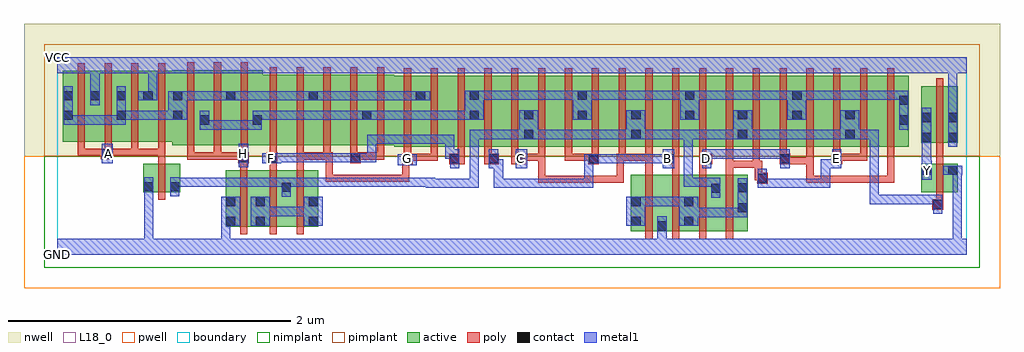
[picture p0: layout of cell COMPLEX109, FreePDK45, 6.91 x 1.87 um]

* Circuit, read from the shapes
.subckt COMPLEX109 A B C D E F G GND H VCC Y
M1 n1 A GND VSUBS nfet w=0.2u l=0.05u
M2 n2 H GND VSUBS nfet w=0.4u l=0.05u
M3 n1 F n2 VSUBS nfet w=0.4u l=0.05u
M4 n2 G n1 VSUBS nfet w=0.4u l=0.05u
M5 GND C n3 VSUBS nfet w=0.4u l=0.05u
M6 n3 B GND VSUBS nfet w=0.4u l=0.05u
M7 n1 D n3 VSUBS nfet w=0.4u l=0.05u
M8 n3 E n1 VSUBS nfet w=0.4u l=0.05u
M9 GND n1 Y VSUBS nfet w=0.2u l=0.05u
M10 VCC A n4 n5 pfet w=0.5u l=0.05u m=4
M11 n6 H n4 n5 pfet w=0.532u l=0.05u m=3
M12 n7 F n6 n5 pfet w=0.5u l=0.05u
M13 n4 G n7 n5 pfet w=0.5u l=0.05u
M14 n8 G n4 n5 pfet w=0.5u l=0.05u
M15 n6 F n8 n5 pfet w=0.5u l=0.05u
M16 n9 F n6 n5 pfet w=0.5u l=0.05u
M17 n4 G n9 n5 pfet w=0.5u l=0.05u
M18 n10 G n4 n5 pfet w=0.5u l=0.05u
M19 n6 F n10 n5 pfet w=0.5u l=0.05u
M20 n11 B n6 n5 pfet w=0.5u l=0.05u
M21 n1 C n11 n5 pfet w=0.5u l=0.05u
M22 n12 C n1 n5 pfet w=0.5u l=0.05u
M23 n6 B n12 n5 pfet w=0.5u l=0.05u
M24 n13 B n6 n5 pfet w=0.5u l=0.05u
M25 n1 C n13 n5 pfet w=0.5u l=0.05u
M26 n14 C n1 n5 pfet w=0.5u l=0.05u
M27 n6 B n14 n5 pfet w=0.5u l=0.05u
M28 n15 D n6 n5 pfet w=0.5u l=0.05u
M29 n1 E n15 n5 pfet w=0.5u l=0.05u
M30 n16 E n1 n5 pfet w=0.5u l=0.05u
M31 n6 D n16 n5 pfet w=0.5u l=0.05u
M32 n17 D n6 n5 pfet w=0.5u l=0.05u
M33 n1 E n17 n5 pfet w=0.5u l=0.05u
M34 n18 E n1 n5 pfet w=0.5u l=0.05u
M35 n6 D n18 n5 pfet w=0.5u l=0.05u
M36 VCC n1 Y n5 pfet w=0.4u l=0.05u
.ends

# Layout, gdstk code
import gdstk
lib = gdstk.Library(unit=1e-6, precision=1e-09)
def R(c, l, rs):  # rectangles x0, y0, x1, y1
    for r in rs: c.add(gdstk.rectangle(r[:2], r[2:], *l))
def A(c, l, x, y, w, h, nx, ny, dx, dy):  # array of equal rectangles
    R(c, l, [(x+i*dx, y+j*dy, x+i*dx+w, y+j*dy+h) for i in range(nx) for j in range(ny)])
active = (1, 0)
pwell = (2, 0)
nwell = (3, 0)
nimplant = (4, 0)
pimplant = (5, 0)
poly = (9, 0)
contact = (10, 0)
metal1 = (11, 0)
L18_0 = (18, 0)
boundary = (235, 0)

complex109 = lib.new_cell('COMPLEX109')
A(complex109, active, 4.245, 0.167, 0.265, 0.4, 3, 1, 0.19, 0)
A(complex109, active, 3.145, 0.767, 0.23, 0.5, 4, 1, 0.38, 0)
A(complex109, active, 3.3, 0.767, 0.225, 0.5, 4, 1, 0.38, 0)
A(complex109, active, 3.68, 0.807, 0.075, 0.393, 3, 1, 0.76, 0)
R(complex109, active, [(4.06,0.167,4.32,0.567), (4.245,0.167,4.32,0.492), (1.192,0.2,1.267,0.6), (1.192,0.2,1.475,0.6), (1.4,0.2,1.475,0.492), (1.4,0.2,1.66,0.6), (1.585,0.2,1.85,0.6), (1.775,0.2,1.85,0.6), (4.06,0.2,4.135,0.567), (4.435,0.2,4.51,0.492), (1.585,0.245,1.66,0.517), (4.625,0.245,4.7,0.51), (4.815,0.245,4.89,0.567), (0.61,0.445,0.685,0.645), (0.61,0.445,0.87,0.645), (0.795,0.445,0.87,0.645), (6.117,0.445,6.192,0.645), (6.117,0.445,6.377,0.645), (6.302,0.445,6.377,0.645), (2.385,0.767,2.61,1.267), (2.535,0.767,2.765,1.267), (2.765,0.767,2.99,1.267), (2.915,0.767,3.145,1.267), (4.665,0.767,4.89,1.267), (4.815,0.767,5.045,1.267), (5.045,0.767,5.275,1.267), (5.2,0.767,5.425,1.267), (5.425,0.767,5.65,1.267), (5.575,0.767,5.805,1.267), (5.805,0.767,6.03,1.267), (5.955,0.767,6.03,1.2), (0.815,0.775,1.08,1.307), (1.005,0.775,1.267,1.307), (1.005,0.775,1.08,1.07), (1.192,0.775,1.455,1.307), (1.192,0.775,1.267,1.2), (1.38,0.775,1.625,1.275), (1.625,0.775,1.85,1.275), (1.775,0.775,2.005,1.275), (2.005,0.775,2.23,1.275), (2.155,0.775,2.385,1.275), (6.117,0.795,6.377,1.195), (6.117,0.795,6.192,1.195), (6.302,0.795,6.377,1.155), (0.04,0.802,0.305,1.302), (0.04,0.802,0.115,1.2), (0.23,0.802,0.49,1.302), (0.415,0.802,0.68,1.302), (0.605,0.802,0.89,1.302), (0.23,0.807,0.305,1.255), (0.415,0.807,0.49,1.2), (0.605,0.807,0.68,1.255), (0.815,0.807,0.89,1.2), (1.38,0.807,1.455,1.07), (1.775,0.807,1.85,1.2), (2.155,0.807,2.23,1.07), (2.535,0.807,2.61,1.2), (2.915,0.807,2.99,1.2), (3.3,0.807,3.375,1.07), (4.06,0.807,4.135,1.07), (4.815,0.807,4.89,1.07), (5.575,0.807,5.65,1.07)])
R(complex109, pwell, [(-0.235,-0.235,6.675,0.7)])
R(complex109, nwell, [(-0.235,0.7,6.675,1.635)])
R(complex109, nimplant, [(-0.09,-0.09,6.53,0.7)])
R(complex109, pimplant, [(-0.09,0.7,6.53,1.49)])
A(complex109, poly, 4.165, 0.112, 0.05, 0.51, 4, 1, 0.19, 0)
A(complex109, poly, 2.455, 0.667, 0.05, 0.095, 12, 1, 0.19, 0)
A(complex109, poly, 0.92, 0.675, 0.05, 0.095, 3, 1, 0.19, 0)
A(complex109, poly, 1.505, 0.675, 0.05, 0.095, 5, 1, 0.19, 0)
A(complex109, poly, 0.145, 0.702, 0.05, 0.095, 4, 1, 0.19, 0)
A(complex109, poly, 2.455, 0.712, 0.05, 0.61, 19, 1, 0.19, 0)
A(complex109, poly, 0.92, 0.72, 0.05, 0.642, 3, 1, 0.19, 0)
A(complex109, poly, 1.505, 0.72, 0.05, 0.61, 5, 1, 0.19, 0)
A(complex109, poly, 0.145, 0.747, 0.05, 0.61, 4, 1, 0.19, 0)
R(complex109, poly, [(1.297,0.145,1.347,0.655), (1.505,0.145,1.555,0.655), (1.695,0.145,1.745,0.655), (6.197,0.32,6.272,0.395), (6.222,0.345,6.272,0.44), (0.715,0.39,0.765,0.7), (6.222,0.39,6.272,0.7), (4.955,0.505,5.03,0.58), (3.405,0.51,3.455,0.56), (3.405,0.51,3.587,0.56), (3.405,0.51,3.455,0.717), (3.537,0.51,3.587,0.56), (3.537,0.51,3.587,0.56), (3.537,0.51,3.587,0.56), (3.537,0.51,3.777,0.56), (3.727,0.51,3.777,0.56), (3.727,0.51,3.777,0.56), (3.727,0.51,3.777,0.56), (3.727,0.51,4.01,0.56), (3.96,0.51,4.01,0.56), (3.96,0.51,4.01,0.56), (3.96,0.51,4.01,0.56), (3.96,0.51,4.01,0.56), (3.96,0.51,4.01,0.56), (3.96,0.51,4.01,0.717), (5.305,0.51,5.355,0.56), (5.305,0.51,5.355,0.56), (5.305,0.51,5.355,0.56), (5.305,0.51,5.355,0.56), (5.305,0.51,5.355,0.56), (5.305,0.51,5.487,0.56), (5.305,0.51,5.355,0.692), (5.437,0.51,5.487,0.56), (5.437,0.51,5.487,0.56), (5.437,0.51,5.487,0.56), (5.437,0.51,5.792,0.56), (5.742,0.51,5.792,0.56), (5.742,0.51,5.925,0.56), (5.875,0.51,5.925,0.56), (5.875,0.51,5.925,0.56), (5.875,0.51,5.925,0.56), (5.875,0.51,5.925,0.56), (5.875,0.51,5.925,0.56), (5.875,0.51,5.925,0.56), (5.875,0.51,5.925,0.56), (5.875,0.51,5.925,0.762), (1.9,0.517,1.95,0.567), (1.9,0.517,1.95,0.567), (1.9,0.517,1.95,0.567), (1.9,0.517,2.182,0.567), (1.9,0.517,1.95,0.725), (2.132,0.517,2.182,0.567), (2.132,0.517,2.36,0.567), (2.31,0.517,2.36,0.567), (2.31,0.517,2.36,0.567), (2.31,0.517,2.36,0.567), (2.31,0.517,2.492,0.567), (2.442,0.517,2.492,0.567), (2.442,0.517,2.492,0.567), (2.442,0.517,2.492,0.567), (2.442,0.517,2.492,0.567), (2.442,0.517,2.492,0.567), (2.442,0.517,2.492,0.692), (4.94,0.53,4.99,0.667), (4.94,0.53,5.005,0.58), (4.955,0.53,5.005,0.58), (4.165,0.572,4.215,0.717), (4.355,0.572,4.405,0.692), (4.545,0.572,4.595,0.692), (4.735,0.572,4.785,0.667), (1.297,0.605,1.347,0.7), (1.505,0.605,1.555,0.7), (1.695,0.605,1.745,0.725), (4.735,0.617,4.785,0.667), (4.735,0.617,4.785,0.667), (4.735,0.617,4.785,0.667), (4.735,0.617,4.785,0.762), (4.735,0.617,4.975,0.667), (4.925,0.617,4.975,0.762), (4.925,0.617,4.99,0.667), (2.442,0.642,2.517,0.717), (2.777,0.642,2.885,0.717), (3.025,0.642,3.127,0.717), (3.215,0.642,3.317,0.717), (3.76,0.642,3.835,0.717), (4.297,0.642,4.405,0.717), (4.545,0.642,4.637,0.717), (5.115,0.642,5.19,0.717), (5.14,0.642,5.19,0.692), (5.14,0.642,5.19,0.692), (5.14,0.642,5.355,0.692), (5.305,0.642,5.355,0.692), (5.305,0.642,5.355,0.762), (5.482,0.642,5.557,0.717), (0.715,0.65,0.765,0.752), (1.282,0.65,1.357,0.725), (1.482,0.65,1.557,0.725), (2.075,0.65,2.15,0.725), (6.222,0.65,6.272,0.745), (2.467,0.667,2.695,0.717), (2.645,0.667,2.695,0.717), (2.645,0.667,2.695,0.717), (2.645,0.667,2.695,0.717), (3.267,0.667,3.455,0.717), (3.405,0.667,3.455,0.717), (3.405,0.667,3.455,0.717), (3.405,0.667,3.455,0.717), (3.405,0.667,3.455,0.717), (3.405,0.667,3.455,0.717), (3.595,0.667,3.645,0.717), (3.595,0.667,3.81,0.717), (3.76,0.667,3.81,0.717), (3.76,0.667,3.81,0.717), (3.96,0.667,4.025,0.717), (3.975,0.667,4.215,0.717), (4.165,0.667,4.215,0.717), (4.165,0.667,4.215,0.717), (4.165,0.667,4.215,0.717), (5.115,0.667,5.165,0.762), (5.495,0.667,5.545,0.762), (5.507,0.667,5.735,0.717), (5.685,0.667,5.735,0.762), (5.685,0.667,5.735,0.717), (5.685,0.667,5.735,0.717), (5.685,0.667,5.735,0.717), (0.92,0.675,0.97,0.725), (0.92,0.675,1.16,0.725), (1.11,0.675,1.16,0.725), (1.11,0.675,1.16,0.725), (1.11,0.675,1.16,0.725), (1.11,0.675,1.332,0.725), (1.282,0.675,1.332,0.725), (1.282,0.675,1.332,0.725), (1.695,0.675,1.745,0.725), (1.695,0.675,1.745,0.725), (1.695,0.675,1.745,0.725), (1.695,0.675,1.935,0.725), (1.885,0.675,1.95,0.725), (1.9,0.675,1.95,0.725), (1.9,0.675,1.95,0.725), (2.1,0.675,2.15,0.725), (2.1,0.675,2.15,0.725), (2.1,0.675,2.315,0.725), (2.265,0.675,2.315,0.725), (0.31,0.677,0.385,0.752), (6.222,0.695,6.272,0.79), (6.222,0.695,6.272,0.745), (0.145,0.702,0.195,0.752), (0.145,0.702,0.195,0.752), (0.145,0.702,0.195,0.752), (0.145,0.702,0.36,0.752), (0.335,0.702,0.385,0.752), (0.335,0.702,0.385,0.752), (0.335,0.702,0.575,0.752), (0.525,0.702,0.575,0.752), (0.525,0.702,0.575,0.752), (0.525,0.702,0.575,0.752), (0.525,0.702,0.765,0.752), (0.715,0.702,0.765,0.752), (6.222,0.74,6.272,1.25)])
A(complex109, contact, 3.685, 0.957, 0.065, 0.065, 3, 2, 0.76, 0.14)
R(complex109, contact, [(4.25,0.172,4.315,0.237), (1.197,0.205,1.262,0.27), (1.405,0.205,1.47,0.27), (1.78,0.205,1.845,0.27), (4.065,0.205,4.13,0.27), (4.44,0.205,4.505,0.27), (4.82,0.302,4.885,0.367), (6.202,0.325,6.267,0.39), (1.197,0.345,1.262,0.41), (1.405,0.345,1.47,0.41), (1.78,0.345,1.845,0.41), (4.065,0.345,4.13,0.41), (4.44,0.345,4.505,0.41), (4.63,0.44,4.695,0.505), (4.82,0.442,4.885,0.507), (1.59,0.447,1.655,0.512), (0.615,0.45,0.68,0.515), (0.8,0.45,0.865,0.515), (4.96,0.51,5.025,0.575), (6.122,0.567,6.187,0.632), (6.307,0.567,6.372,0.632), (2.447,0.647,2.512,0.712), (2.782,0.647,2.847,0.712), (3.057,0.647,3.122,0.712), (3.247,0.647,3.312,0.712), (3.765,0.647,3.83,0.712), (4.302,0.647,4.367,0.712), (4.567,0.647,4.632,0.712), (5.12,0.647,5.185,0.712), (5.487,0.647,5.552,0.712), (1.287,0.655,1.352,0.72), (1.487,0.655,1.552,0.72), (2.08,0.655,2.145,0.72), (0.315,0.682,0.38,0.747), (6.122,0.8,6.187,0.865), (6.307,0.8,6.372,0.865), (3.305,0.82,3.37,0.885), (4.065,0.82,4.13,0.885), (4.82,0.82,4.885,0.885), (5.58,0.82,5.645,0.885), (1.01,0.922,1.075,0.987), (1.385,0.922,1.45,0.987), (5.96,0.922,6.025,0.987), (6.122,0.94,6.187,1.005), (6.307,0.94,6.372,1.005), (0.045,0.955,0.11,1.02), (0.42,0.955,0.485,1.02), (0.82,0.955,0.885,1.02), (2.16,0.957,2.225,1.022), (2.92,0.957,2.985,1.022), (3.305,0.96,3.37,1.025), (4.065,0.96,4.13,1.025), (4.82,0.96,4.885,1.025), (5.58,0.96,5.645,1.025), (5.96,1.062,6.025,1.127), (0.045,1.095,0.11,1.16), (0.235,1.095,0.3,1.16), (0.42,1.095,0.485,1.16), (0.61,1.095,0.675,1.16), (0.82,1.095,0.885,1.16), (1.197,1.095,1.262,1.16), (1.78,1.095,1.845,1.16), (2.54,1.095,2.605,1.16), (2.92,1.097,2.985,1.162)])
A(complex109, metal1, 3.65, 0.957, 0.135, 0.205, 3, 1, 0.76, 0)
R(complex109, metal1, [(0,0,6.44,0.115), (0.615,0.05,0.68,0.115), (0.615,0.05,0.68,0.115), (0.615,0.05,0.68,0.48), (1.162,0.05,1.227,0.115), (1.162,0.05,1.227,0.115), (1.162,0.05,1.227,0.27), (4.25,0.05,4.315,0.202), (6.34,0.05,6.405,0.632), (6.34,0.05,6.405,0.115), (6.34,0.05,6.405,0.115), (6.34,0.05,6.405,0.115), (6.34,0.05,6.405,0.115), (6.34,0.05,6.405,0.115), (6.34,0.05,6.405,0.115), (4.25,0.137,4.315,0.202), (4.25,0.137,4.315,0.202), (4.25,0.137,4.315,0.272), (1.162,0.205,1.297,0.41), (1.37,0.205,1.505,0.41), (1.745,0.205,1.88,0.41), (4.03,0.205,4.165,0.41), (4.405,0.205,4.54,0.41), (4.475,0.267,4.712,0.332), (4.647,0.267,4.712,0.332), (4.647,0.267,4.712,0.332), (4.647,0.267,4.712,0.332), (4.647,0.267,4.885,0.332), (4.82,0.267,4.885,0.542), (4.82,0.267,4.885,0.332), (4.82,0.267,4.885,0.332), (1.44,0.275,1.505,0.34), (1.44,0.275,1.505,0.34), (1.44,0.275,1.642,0.34), (1.577,0.275,1.642,0.34), (1.577,0.275,1.725,0.34), (1.66,0.275,1.725,0.34), (1.66,0.275,1.81,0.34), (6.202,0.29,6.267,0.425), (4.1,0.345,4.165,0.41), (4.1,0.345,4.165,0.41), (4.1,0.345,4.302,0.41), (4.237,0.345,4.302,0.41), (4.237,0.345,4.415,0.41), (4.35,0.345,4.415,0.41), (4.35,0.345,4.47,0.41), (5.752,0.36,5.817,0.425), (5.752,0.36,5.817,0.425), (5.752,0.36,5.817,0.425), (5.752,0.36,5.817,0.425), (5.752,0.36,5.817,0.425), (5.752,0.36,5.817,0.425), (5.752,0.36,5.817,0.425), (5.752,0.36,6.05,0.425), (5.752,0.36,5.817,0.885), (5.985,0.36,6.05,0.425), (5.985,0.36,6.05,0.425), (5.985,0.36,6.05,0.425), (5.985,0.36,6.05,0.425), (5.985,0.36,6.05,0.425), (5.985,0.36,6.267,0.425), (4.63,0.405,4.695,0.54), (1.59,0.412,1.655,0.547), (0.615,0.415,0.68,0.48), (0.615,0.415,0.68,0.48), (0.615,0.415,0.68,0.48), (0.615,0.415,0.68,0.48), (0.615,0.415,0.68,0.55), (0.8,0.415,0.865,0.55), (2.61,0.475,2.812,0.54), (2.61,0.475,2.675,0.547), (2.747,0.475,2.812,0.54), (2.747,0.475,2.812,0.54), (2.747,0.475,2.812,0.54), (2.747,0.475,2.985,0.54), (2.92,0.475,2.985,0.54), (2.92,0.475,2.985,0.885), (3.092,0.475,3.157,0.54), (3.092,0.475,3.157,0.677), (3.092,0.475,3.267,0.54), (3.202,0.475,3.267,0.54), (3.202,0.475,3.405,0.54), (3.34,0.475,3.405,0.54), (3.34,0.475,3.405,0.54), (3.34,0.475,3.405,0.54), (3.34,0.475,3.577,0.54), (3.512,0.475,3.577,0.54), (3.512,0.475,3.577,0.54), (3.512,0.475,3.577,0.54), (3.512,0.475,3.795,0.54), (3.73,0.475,3.795,0.54), (3.73,0.475,3.795,0.712), (4.63,0.475,4.695,0.54), (4.63,0.475,4.695,0.547), (4.96,0.475,5.025,0.61), (4.96,0.475,5.057,0.54), (4.992,0.475,5.057,0.54), (4.992,0.475,5.057,0.54), (4.992,0.475,5.057,0.54), (4.992,0.475,5.195,0.54), (5.13,0.475,5.195,0.54), (5.13,0.475,5.332,0.54), (5.267,0.475,5.332,0.54), (5.267,0.475,5.332,0.54), (5.267,0.475,5.332,0.54), (5.267,0.475,5.472,0.54), (5.407,0.475,5.472,0.54), (5.407,0.475,5.472,0.677), (0.8,0.482,1.057,0.547), (0.992,0.482,1.057,0.547), (0.992,0.482,1.057,0.547), (0.992,0.482,1.057,0.547), (0.992,0.482,1.215,0.547), (1.15,0.482,1.215,0.547), (1.15,0.482,1.215,0.547), (1.15,0.482,1.215,0.547), (1.15,0.482,1.352,0.547), (1.287,0.482,1.352,0.547), (1.287,0.482,1.505,0.547), (1.44,0.482,1.505,0.547), (1.44,0.482,1.505,0.547), (1.44,0.482,1.505,0.547), (1.44,0.482,1.655,0.547), (1.59,0.482,1.725,0.547), (1.66,0.482,1.725,0.547), (1.66,0.482,1.88,0.547), (1.815,0.482,1.88,0.547), (1.815,0.482,1.88,0.547), (1.815,0.482,1.88,0.547), (1.815,0.482,2.017,0.547), (1.952,0.482,2.017,0.547), (1.952,0.482,2.155,0.547), (2.09,0.482,2.155,0.547), (2.09,0.482,2.155,0.547), (2.09,0.482,2.155,0.547), (2.09,0.482,2.327,0.547), (2.262,0.482,2.327,0.547), (2.262,0.482,2.432,0.547), (2.367,0.482,2.432,0.547), (2.367,0.482,2.477,0.547), (2.412,0.482,2.477,0.547), (2.412,0.482,2.57,0.547), (2.505,0.482,2.57,0.547), (2.505,0.482,2.675,0.547), (4.435,0.482,4.5,0.547), (4.435,0.482,4.695,0.547), (4.435,0.482,4.5,0.885), (6.122,0.532,6.192,0.667), (6.272,0.567,6.407,0.632), (6.122,0.602,6.187,0.667), (6.122,0.602,6.187,0.667), (6.122,0.602,6.187,0.83), (2.782,0.612,2.847,0.747), (3.057,0.612,3.122,0.747), (3.057,0.612,3.157,0.677), (3.092,0.612,3.157,0.677), (3.247,0.612,3.327,0.747), (4.287,0.612,4.367,0.747), (4.567,0.612,4.632,0.747), (5.12,0.612,5.185,0.747), (5.407,0.612,5.472,0.677), (5.407,0.612,5.552,0.677), (5.487,0.612,5.552,0.747), (1.287,0.62,1.352,0.787), (2.412,0.635,2.547,0.712), (0.315,0.647,0.392,0.787), (1.452,0.647,1.587,0.72), (3.73,0.647,3.865,0.712), (3.73,0.647,3.795,0.712), (3.73,0.647,3.795,0.712), (3.8,0.647,3.957,0.712), (3.892,0.647,4.027,0.712), (3.892,0.647,3.957,0.712), (3.962,0.647,4.027,0.712), (3.962,0.647,4.165,0.712), (4.1,0.647,4.165,0.712), (4.1,0.647,4.165,0.712), (4.1,0.647,4.165,0.712), (4.1,0.647,4.302,0.712), (4.237,0.647,4.302,0.712), (4.237,0.647,4.352,0.712), (1.522,0.655,1.642,0.72), (1.577,0.655,1.642,0.72), (1.577,0.655,1.725,0.72), (1.66,0.655,1.725,0.72), (1.66,0.655,1.862,0.72), (1.797,0.655,1.862,0.72), (1.797,0.655,1.862,0.72), (1.797,0.655,1.862,0.72), (1.797,0.655,2.017,0.72), (1.952,0.655,2.017,0.72), (1.952,0.655,2.11,0.72), (2.045,0.655,2.18,0.72), (2.115,0.655,2.26,0.72), (2.195,0.655,2.26,0.72), (2.195,0.655,2.26,0.85), (2.747,0.682,2.812,0.747), (2.747,0.682,2.847,0.747), (2.747,0.682,2.812,0.85), (4.567,0.682,4.712,0.747), (4.647,0.682,4.712,0.747), (4.647,0.682,4.85,0.747), (4.785,0.682,4.85,0.747), (4.785,0.682,4.85,0.747), (4.785,0.682,4.85,0.747), (4.785,0.682,5.022,0.747), (4.957,0.682,5.022,0.747), (4.957,0.682,5.057,0.747), (4.992,0.682,5.057,0.747), (4.992,0.682,5.185,0.747), (6.122,0.765,6.187,1.04), (6.122,0.765,6.187,0.83), (6.122,0.765,6.187,0.83), (6.307,0.765,6.372,1.04), (2.195,0.785,2.26,0.85), (2.195,0.785,2.327,0.85), (2.262,0.785,2.397,0.85), (2.262,0.785,2.327,0.85), (2.332,0.785,2.397,0.85), (2.332,0.785,2.477,0.85), (2.412,0.785,2.477,0.85), (2.412,0.785,2.675,0.85), (2.61,0.785,2.675,0.85), (2.61,0.785,2.675,0.85), (2.61,0.785,2.675,0.85), (2.61,0.785,2.812,0.85), (2.747,0.785,2.812,0.85), (2.92,0.82,2.985,0.885), (2.92,0.82,2.985,0.885), (2.92,0.82,2.985,0.885), (2.92,0.82,2.985,0.885), (2.92,0.82,2.985,0.885), (2.92,0.82,3.197,0.885), (3.132,0.82,3.267,0.885), (3.132,0.82,3.197,0.885), (3.202,0.82,3.267,0.885), (3.202,0.82,3.335,0.885), (3.27,0.82,3.405,1.025), (3.34,0.82,3.405,0.885), (3.34,0.82,3.405,0.885), (3.34,0.82,3.542,0.885), (3.477,0.82,3.542,0.885), (3.477,0.82,3.542,0.885), (3.477,0.82,3.542,0.885), (3.477,0.82,3.795,0.885), (3.73,0.82,3.795,0.885), (3.73,0.82,3.795,0.885), (3.73,0.82,3.795,0.885), (3.73,0.82,3.932,0.885), (3.867,0.82,3.932,0.885), (3.867,0.82,4.027,0.885), (3.962,0.82,4.027,0.885), (3.962,0.82,4.095,0.885), (4.03,0.82,4.165,1.025), (4.1,0.82,4.165,0.885), (4.1,0.82,4.165,0.885), (4.1,0.82,4.332,0.885), (4.267,0.82,4.332,0.885), (4.267,0.82,4.332,0.885), (4.267,0.82,4.332,0.885), (4.267,0.82,4.5,0.885), (4.435,0.82,4.5,0.885), (4.435,0.82,4.5,0.885), (4.435,0.82,4.552,0.885), (4.487,0.82,4.552,0.885), (4.487,0.82,4.552,0.885), (4.487,0.82,4.69,0.885), (4.625,0.82,4.69,0.885), (4.625,0.82,4.85,0.885), (4.785,0.82,4.85,0.885), (4.785,0.82,4.85,0.885), (4.785,0.82,4.92,1.025), (4.855,0.82,5.047,0.885), (4.982,0.82,5.047,0.885), (4.982,0.82,5.057,0.885), (4.992,0.82,5.057,0.885), (4.992,0.82,5.195,0.885), (5.13,0.82,5.195,0.885), (5.13,0.82,5.195,0.885), (5.13,0.82,5.195,0.885), (5.13,0.82,5.332,0.885), (5.267,0.82,5.332,0.885), (5.267,0.82,5.47,0.885), (5.405,0.82,5.47,0.885), (5.405,0.82,5.47,0.885), (5.405,0.82,5.47,0.885), (5.405,0.82,5.61,0.885), (5.545,0.82,5.68,1.025), (5.615,0.82,5.68,0.885), (5.615,0.82,5.68,0.885), (5.615,0.82,5.817,0.885), (5.752,0.82,5.817,0.885), (1.01,0.887,1.075,1.022), (1.01,0.887,1.212,0.952), (1.147,0.887,1.212,0.952), (1.147,0.887,1.212,0.952), (1.147,0.887,1.212,0.952), (1.147,0.887,1.352,0.952), (1.287,0.887,1.352,0.952), (1.287,0.887,1.45,0.952), (1.385,0.887,1.45,1.022), (5.96,0.887,6.025,1.162), (0.045,0.92,0.11,1.195), (0.42,0.92,0.485,1.195), (0.045,0.922,0.11,0.987), (0.045,0.922,0.11,0.987), (0.045,0.922,0.347,0.987), (0.282,0.922,0.347,0.987), (0.282,0.922,0.347,0.987), (0.282,0.922,0.347,0.987), (0.282,0.922,0.485,0.987), (0.42,0.955,0.485,1.02), (0.42,0.955,0.485,1.02), (0.42,0.955,0.712,1.02), (0.647,0.955,0.712,1.02), (0.647,0.955,0.712,1.02), (0.647,0.955,0.712,1.02), (0.647,0.955,0.85,1.02), (0.785,0.955,0.92,1.16), (1.385,0.957,1.587,1.022), (1.522,0.957,1.587,1.022), (1.522,0.957,1.642,1.022), (1.577,0.957,1.642,1.022), (1.577,0.957,1.725,1.022), (1.66,0.957,1.725,1.022), (1.66,0.957,1.88,1.022), (1.815,0.957,1.88,1.022), (1.815,0.957,1.88,1.022), (1.815,0.957,1.88,1.022), (1.815,0.957,2.017,1.022), (1.952,0.957,2.017,1.022), (1.952,0.957,2.19,1.022), (2.125,0.957,2.26,1.022), (2.125,0.957,2.19,1.022), (2.125,0.957,2.19,1.022), (2.195,0.957,2.34,1.022), (2.275,0.957,2.34,1.022), (2.275,0.957,2.397,1.022), (2.332,0.957,2.397,1.022), (2.332,0.957,2.477,1.022), (2.412,0.957,2.477,1.022), (2.412,0.957,2.615,1.022), (2.55,0.957,2.615,1.022), (2.55,0.957,2.615,1.022), (2.55,0.957,2.615,1.022), (2.55,0.957,2.812,1.022), (2.747,0.957,2.812,1.022), (2.747,0.957,2.812,1.022), (2.747,0.957,2.812,1.022), (2.747,0.957,2.95,1.022), (2.885,0.957,3.02,1.162), (6.307,0.975,6.372,1.35), (0.235,1.06,0.3,1.195), (0.575,1.095,0.71,1.16), (0.645,1.095,0.71,1.35), (0.855,1.095,0.92,1.16), (0.855,1.095,0.92,1.16), (0.855,1.095,1.057,1.16), (0.992,1.095,1.057,1.16), (0.992,1.095,1.195,1.16), (1.13,1.095,1.195,1.16), (1.13,1.095,1.227,1.16), (1.162,1.095,1.297,1.16), (1.232,1.095,1.367,1.16), (1.302,1.095,1.367,1.16), (1.302,1.095,1.505,1.16), (1.44,1.095,1.505,1.16), (1.44,1.095,1.505,1.16), (1.44,1.095,1.505,1.16), (1.44,1.095,1.672,1.16), (1.607,1.095,1.672,1.16), (1.607,1.095,1.725,1.16), (1.66,1.095,1.725,1.16), (1.66,1.095,1.81,1.16), (1.745,1.095,1.88,1.16), (1.815,1.095,1.88,1.16), (1.815,1.095,1.88,1.16), (1.815,1.095,2.017,1.16), (1.952,1.095,2.017,1.16), (1.952,1.095,2.155,1.16), (2.09,1.095,2.155,1.16), (2.09,1.095,2.155,1.16), (2.09,1.095,2.155,1.16), (2.09,1.095,2.34,1.16), (2.275,1.095,2.34,1.16), (2.275,1.095,2.397,1.16), (2.332,1.095,2.397,1.16), (2.332,1.095,2.477,1.16), (2.412,1.095,2.477,1.16), (2.412,1.095,2.57,1.16), (2.505,1.095,2.64,1.16), (2.955,1.097,3.02,1.162), (2.955,1.097,3.02,1.162), (2.955,1.097,3.157,1.162), (3.092,1.097,3.157,1.162), (3.092,1.097,3.267,1.162), (3.202,1.097,3.267,1.162), (3.202,1.097,3.405,1.162), (3.34,1.097,3.405,1.162), (3.34,1.097,3.405,1.162), (3.34,1.097,3.405,1.162), (3.34,1.097,3.577,1.162), (3.512,1.097,3.577,1.162), (3.512,1.097,3.577,1.162), (3.512,1.097,3.577,1.162), (3.512,1.097,3.715,1.162), (3.72,1.097,3.89,1.162), (3.825,1.097,3.89,1.162), (3.825,1.097,3.932,1.162), (3.867,1.097,3.932,1.162), (3.867,1.097,4.027,1.162), (3.962,1.097,4.027,1.162), (3.962,1.097,4.165,1.162), (4.1,1.097,4.165,1.162), (4.1,1.097,4.165,1.162), (4.1,1.097,4.165,1.162), (4.1,1.097,4.332,1.162), (4.267,1.097,4.332,1.162), (4.267,1.097,4.332,1.162), (4.267,1.097,4.332,1.162), (4.267,1.097,4.475,1.162), (4.48,1.097,4.69,1.162), (4.625,1.097,4.69,1.162), (4.625,1.097,4.69,1.162), (4.625,1.097,4.69,1.162), (4.625,1.097,4.69,1.162), (4.625,1.097,4.69,1.162), (4.625,1.097,4.885,1.162), (4.82,1.097,4.885,1.162), (4.82,1.097,4.885,1.162), (4.82,1.097,4.885,1.162), (4.82,1.097,5.047,1.162), (4.982,1.097,5.047,1.162), (4.982,1.097,5.057,1.162), (4.992,1.097,5.057,1.162), (4.992,1.097,5.195,1.162), (5.13,1.097,5.195,1.162), (5.13,1.097,5.235,1.162), (5.24,1.097,5.332,1.162), (5.267,1.097,5.332,1.162), (5.267,1.097,5.472,1.162), (5.407,1.097,5.472,1.162), (5.407,1.097,5.472,1.162), (5.407,1.097,5.472,1.162), (5.407,1.097,5.68,1.162), (5.615,1.097,5.68,1.162), (5.615,1.097,5.68,1.162), (5.615,1.097,5.68,1.162), (5.615,1.097,5.817,1.162), (5.752,1.097,5.817,1.162), (5.752,1.097,5.817,1.162), (5.752,1.097,5.817,1.162), (5.752,1.097,6.025,1.162), (0.235,1.13,0.3,1.35), (0,1.285,6.44,1.4)])
R(complex109, L18_0, [(0,0,6.44,0.115), (0.615,0.05,0.68,0.115), (0.615,0.05,0.68,0.115), (0.615,0.05,0.68,0.48), (1.162,0.05,1.227,0.27), (1.162,0.05,1.227,0.115), (1.162,0.05,1.227,0.115), (4.25,0.05,4.315,0.202), (6.34,0.05,6.405,0.115), (6.34,0.05,6.405,0.115), (6.34,0.05,6.405,0.115), (6.34,0.05,6.405,0.115), (6.34,0.05,6.405,0.115), (6.34,0.05,6.405,0.115), (6.34,0.05,6.405,0.632), (4.25,0.137,4.315,0.272), (4.25,0.137,4.315,0.202), (4.25,0.137,4.315,0.202), (1.162,0.205,1.297,0.41), (0.615,0.415,0.68,0.55), (0.615,0.415,0.68,0.48), (0.615,0.415,0.68,0.48), (0.615,0.415,0.68,0.48), (0.615,0.415,0.68,0.48), (3.092,0.475,3.157,0.54), (3.092,0.475,3.157,0.677), (3.092,0.475,3.267,0.54), (3.202,0.475,3.267,0.54), (3.202,0.475,3.405,0.54), (3.34,0.475,3.405,0.54), (3.34,0.475,3.405,0.54), (3.34,0.475,3.405,0.54), (3.34,0.475,3.577,0.54), (3.512,0.475,3.577,0.54), (3.512,0.475,3.577,0.54), (3.512,0.475,3.577,0.54), (3.512,0.475,3.795,0.54), (3.73,0.475,3.795,0.54), (3.73,0.475,3.795,0.712), (4.96,0.475,5.025,0.61), (4.96,0.475,5.057,0.54), (4.992,0.475,5.057,0.54), (4.992,0.475,5.057,0.54), (4.992,0.475,5.057,0.54), (4.992,0.475,5.195,0.54), (5.13,0.475,5.195,0.54), (5.13,0.475,5.332,0.54), (5.267,0.475,5.332,0.54), (5.267,0.475,5.332,0.54), (5.267,0.475,5.332,0.54), (5.267,0.475,5.472,0.54), (5.407,0.475,5.472,0.54), (5.407,0.475,5.472,0.677), (6.122,0.532,6.192,0.667), (6.127,0.567,6.192,0.632), (6.272,0.567,6.407,0.632), (6.122,0.602,6.187,0.667), (6.122,0.602,6.187,0.667), (6.122,0.602,6.187,0.83), (2.782,0.612,2.847,0.747), (3.057,0.612,3.122,0.747), (3.057,0.612,3.157,0.677), (3.092,0.612,3.157,0.677), (3.247,0.612,3.327,0.747), (4.287,0.612,4.367,0.747), (4.567,0.612,4.632,0.747), (5.12,0.612,5.185,0.747), (5.407,0.612,5.472,0.677), (5.407,0.612,5.552,0.677), (5.487,0.612,5.552,0.747), (1.287,0.62,1.352,0.787), (2.412,0.635,2.547,0.712), (0.315,0.647,0.392,0.787), (1.452,0.647,1.587,0.72), (1.487,0.647,1.552,0.712), (2.447,0.647,2.512,0.712), (3.247,0.647,3.312,0.712), (3.73,0.647,3.795,0.712), (3.73,0.647,3.795,0.712), (3.73,0.647,3.865,0.712), (3.8,0.647,3.957,0.712), (3.892,0.647,3.957,0.712), (3.892,0.647,4.027,0.712), (3.962,0.647,4.027,0.712), (3.962,0.647,4.165,0.712), (4.1,0.647,4.165,0.712), (4.1,0.647,4.165,0.712), (4.1,0.647,4.165,0.712), (4.1,0.647,4.302,0.712), (4.237,0.647,4.302,0.712), (4.237,0.647,4.352,0.712), (4.287,0.647,4.352,0.712), (4.567,0.647,4.632,0.712), (5.487,0.647,5.552,0.712), (1.522,0.655,1.642,0.72), (1.577,0.655,1.642,0.72), (1.577,0.655,1.725,0.72), (1.66,0.655,1.725,0.72), (1.66,0.655,1.862,0.72), (1.797,0.655,1.862,0.72), (1.797,0.655,1.862,0.72), (1.797,0.655,1.862,0.72), (1.797,0.655,2.017,0.72), (1.952,0.655,2.017,0.72), (1.952,0.655,2.11,0.72), (2.045,0.655,2.18,0.72), (2.115,0.655,2.26,0.72), (2.195,0.655,2.26,0.72), (2.195,0.655,2.26,0.85), (2.747,0.682,2.812,0.747), (2.747,0.682,2.812,0.85), (2.747,0.682,2.847,0.747), (4.567,0.682,4.712,0.747), (4.647,0.682,4.712,0.747), (4.647,0.682,4.85,0.747), (4.785,0.682,4.85,0.747), (4.785,0.682,4.85,0.747), (4.785,0.682,4.85,0.747), (4.785,0.682,5.022,0.747), (4.957,0.682,5.022,0.747), (4.957,0.682,5.057,0.747), (4.992,0.682,5.057,0.747), (4.992,0.682,5.185,0.747), (0.327,0.687,0.392,0.752), (1.287,0.687,1.352,0.752), (6.122,0.765,6.187,0.83), (6.122,0.765,6.187,0.83), (6.122,0.765,6.187,1.04), (6.307,0.765,6.372,1.04), (2.195,0.785,2.26,0.85), (2.195,0.785,2.327,0.85), (2.262,0.785,2.327,0.85), (2.262,0.785,2.397,0.85), (2.332,0.785,2.397,0.85), (2.332,0.785,2.477,0.85), (2.412,0.785,2.477,0.85), (2.412,0.785,2.675,0.85), (2.61,0.785,2.675,0.85), (2.61,0.785,2.675,0.85), (2.61,0.785,2.675,0.85), (2.61,0.785,2.812,0.85), (2.747,0.785,2.812,0.85), (6.307,0.975,6.372,1.35), (0.235,1.06,0.3,1.195), (0.575,1.095,0.71,1.16), (0.645,1.095,0.71,1.35), (0.235,1.13,0.3,1.35), (0,1.285,6.44,1.4)])
R(complex109, boundary, [(0,0,6.44,1.4)])
complex109.add(gdstk.Label('A', (0.36,0.72), layer=11, texttype=0))
complex109.add(gdstk.Label('B', (4.32,0.68), layer=11, texttype=0))
complex109.add(gdstk.Label('C', (3.28,0.68), layer=11, texttype=0))
complex109.add(gdstk.Label('D', (4.6,0.68), layer=11, texttype=0))
complex109.add(gdstk.Label('E', (5.52,0.68), layer=11, texttype=0))
complex109.add(gdstk.Label('F', (1.52,0.68), layer=11, texttype=0))
complex109.add(gdstk.Label('G', (2.48,0.68), layer=11, texttype=0))
complex109.add(gdstk.Label('H', (1.32,0.72), layer=11, texttype=0))
complex109.add(gdstk.Label('Y', (6.16,0.6), layer=11, texttype=0))
complex109.add(gdstk.Label('VCC', (0,1.4), layer=11, texttype=0))
complex109.add(gdstk.Label('GND', (0,0), layer=11, texttype=0))

lib.write_gds('COMPLEX109.gds')
